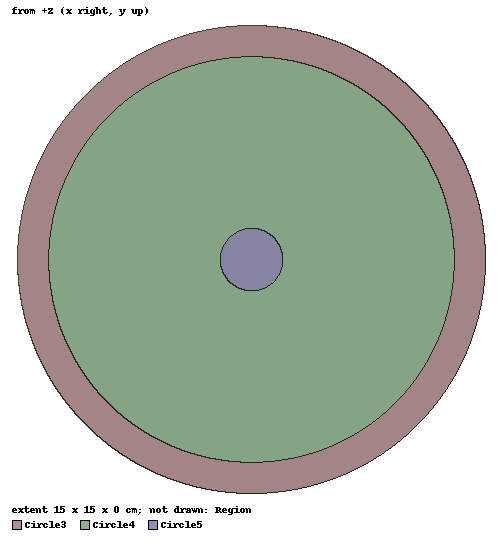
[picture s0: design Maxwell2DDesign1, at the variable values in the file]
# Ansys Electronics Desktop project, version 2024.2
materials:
  vacuum: permittivity=1
  copper: permeability=0.999991 conductivity=58000000
  air: permittivity=1.0006 permeability=1.0000004
  polyethylene: permittivity=2.25 dielectric_loss_tangent=0.001

design Maxwell2DDesign1 (Maxwell 2D, Electrostatic, XY geometry, model units cm)
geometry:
  Circle1 = circle(normal=Z, centre=(0cm, 0cm, 0cm), radius=1cm)
  Circle2 = circle(normal=Z, centre=(0cm, 0cm, 0cm), radius=6.5cm)
  Circle3 [copper] = circle(normal=Z, centre=(0cm, 0cm, 0cm), radius=7.5cm)
  Circle3.subtract(Circle2)
  Circle4 [polyethylene] = circle(normal=Z, centre=(0cm, 0cm, 0cm), radius=6.5cm)
  Circle4.subtract(Circle1)
  Circle5 [copper] = circle(normal=Z, centre=(0cm, 0cm, 0cm), radius=1cm)
  Region [air] = region(percentage_offset: +X=200, -X=200, +Y=200, -Y=200, +Z=0, -Z=0)
  point Point1 = (3.75cm, 0cm, 0cm)
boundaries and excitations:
  Balloon1: Balloon Edges=Region.edge(all 4) IsOfTypeVoltage=true
  Voltage1: Voltage Objects=Circle5 Value=100V
  Voltage2: Voltage Objects=Circle3 Value=0V
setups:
  Setup1: Electrostatic MaximumPasses=10 MinimumPasses=2 MinimumConvergedPasses=1 PercentRefinement=30 PercentError=1 ConstantDelta=0s NonLinearResidual=0.001
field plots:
  Voltage1: Voltage over Circle3, Circle4, Circle5, Region on Setup1 : LastAdaptive
  E_Vector1: E over Circle3, Circle4, Circle5, Region on Setup1 : LastAdaptive
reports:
  Calculator Expressions Table 1: Voltage vs X on Setup1 : LastAdaptive
  Calculator Expressions Table 2: Mag_E vs X on Setup1 : LastAdaptive
